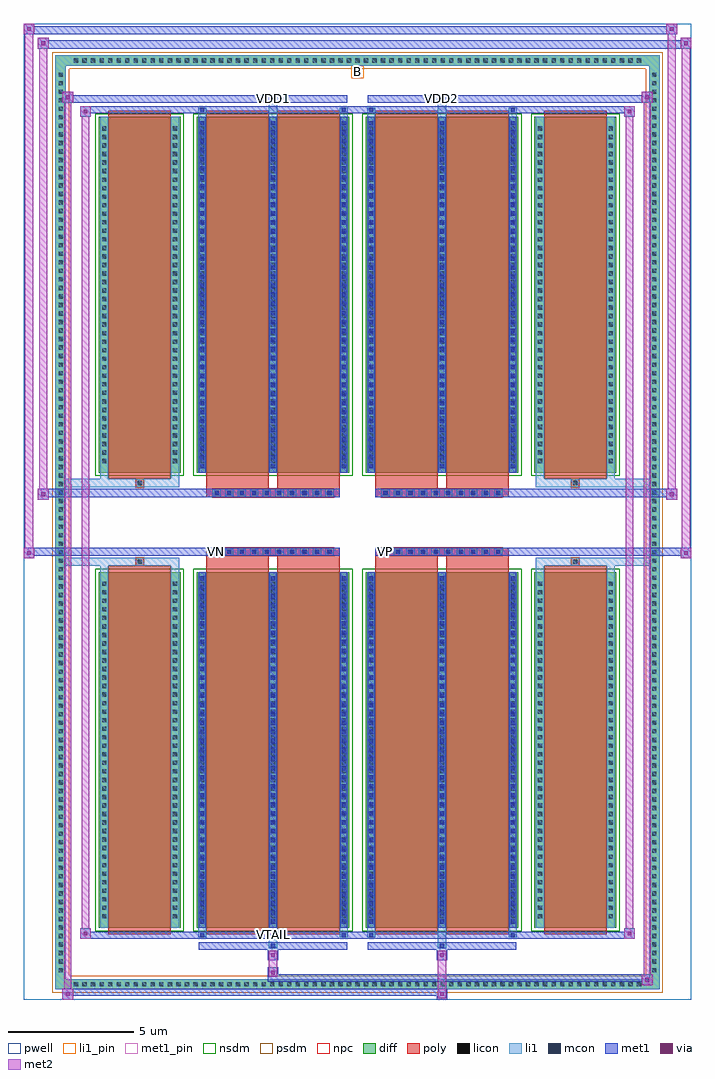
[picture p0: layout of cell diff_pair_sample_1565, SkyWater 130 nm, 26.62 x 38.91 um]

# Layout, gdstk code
import gdstk
lib = gdstk.Library(unit=1e-6, precision=5e-09)
def R(c, l, rs):  # rectangles x0, y0, x1, y1
    for r in rs: c.add(gdstk.rectangle(r[:2], r[2:], *l))
def A(c, l, x, y, w, h, nx, ny, dx, dy):  # array of equal rectangles
    R(c, l, [(x+i*dx, y+j*dy, x+i*dx+w, y+j*dy+h) for i in range(nx) for j in range(ny)])
def P(c, l, *ps):  # polygons
    for p in ps: c.add(gdstk.Polygon(p, *l))
pwell = (64, 44)
diff = (65, 20)
poly = (66, 20)
licon = (66, 44)
li1_pin = (67, 16)
li1 = (67, 20)
mcon = (67, 44)
met1_pin = (68, 16)
met1 = (68, 20)
via = (68, 44)
met2 = (69, 20)
nsdm = (93, 44)
psdm = (94, 20)
npc = (95, 20)

diff_pair_sample_1565 = lib.new_cell('diff_pair_sample_1565')
R(diff_pair_sample_1565, pwell, [(-13.31,-19.02,13.31,19.89), (-10.63,-17.21,-0.01,-0.805), (0.01,-17.21,10.63,-0.805), (-10.63,0.805,-0.01,17.21), (0.01,0.805,10.63,17.21)])
A(diff_pair_sample_1565, diff, -11.425, -18.62, 0.41, 0.41, 67, 2, 0.34, 36.83)
A(diff_pair_sample_1565, diff, -12.04, -18.055, 0.41, 0.41, 1, 106, 0, 0.34)
A(diff_pair_sample_1565, diff, 11.63, -18.055, 0.41, 0.41, 1, 106, 0, 0.34)
R(diff_pair_sample_1565, diff, [(-11.425,-18.62,11.425,-18.21), (-12.04,-18.055,-11.63,18.055), (11.63,-18.055,12.04,18.055), (-10.32,-16.165,-7.05,-1.985), (-6.41,-16.165,-0.32,-1.985), (0.32,-16.165,6.41,-1.985), (7.05,-16.165,10.32,-1.985), (-10.32,1.985,-7.05,16.165), (-6.41,1.985,-0.32,16.165), (0.32,1.985,6.41,16.165), (7.05,1.985,10.32,16.165), (-11.425,18.21,11.425,18.62)])
P(diff_pair_sample_1565, diff, [(12.04,18.62),(-12.04,18.62),(-12.04,-18.21),(-11.63,-18.21),(-11.63,18.21),(11.63,18.21),(11.63,-18.21),(-11.63,-18.21),(-12.04,-18.21),(-12.04,-18.62),(12.04,-18.62)])
A(diff_pair_sample_1565, poly, -5.78, -1.335, 0.33, 0.33, 10, 2, 0.5, 2.34)
A(diff_pair_sample_1565, poly, 0.95, -1.335, 0.33, 0.33, 10, 2, 0.5, 2.34)
R(diff_pair_sample_1565, poly, [(-9.93,-16.415,-7.44,-1.735), (-6.02,-16.415,-3.53,-1.735), (-3.2,-16.415,-0.71,-1.735), (0.71,-16.415,3.2,-1.735), (3.53,-16.415,6.02,-1.735), (7.44,-16.415,9.93,-1.735), (-8.85,-1.735,-8.52,-1.405), (-8.85,-1.735,-8.52,-1.405), (-6.02,-1.735,-3.53,-1.335), (-3.2,-1.735,-0.71,-1.335), (0.71,-1.735,3.2,-1.335), (3.53,-1.735,6.02,-1.335), (8.52,-1.735,8.85,-1.405), (8.52,-1.735,8.85,-1.405), (-6.02,-1.335,-0.71,-1.005), (0.71,-1.335,6.02,-1.005), (-6.02,1.005,-0.71,1.335), (0.71,1.005,6.02,1.335), (-6.02,1.335,-3.53,1.735), (-3.2,1.335,-0.71,1.735), (0.71,1.335,3.2,1.735), (3.53,1.335,6.02,1.735), (-8.85,1.405,-8.52,1.735), (-8.85,1.405,-8.52,1.735), (8.52,1.405,8.85,1.735), (8.52,1.405,8.85,1.735), (-9.93,1.735,-7.44,16.415), (-6.02,1.735,-3.53,16.415), (-3.2,1.735,-0.71,16.415), (0.71,1.735,3.2,16.415), (3.53,1.735,6.02,16.415), (7.44,1.735,9.93,16.415)])
A(diff_pair_sample_1565, licon, -11.305, -18.5, 0.17, 0.17, 67, 2, 0.34, 36.83)
A(diff_pair_sample_1565, licon, -11.92, -17.935, 0.17, 0.17, 1, 106, 0, 0.34)
A(diff_pair_sample_1565, licon, 11.75, -17.935, 0.17, 0.17, 1, 106, 0, 0.34)
A(diff_pair_sample_1565, licon, -10.18, -15.79, 0.17, 0.17, 1, 40, 0, 0.34)
A(diff_pair_sample_1565, licon, -7.36, -15.79, 0.17, 0.17, 1, 40, 0, 0.34)
A(diff_pair_sample_1565, licon, -6.27, -15.79, 0.17, 0.17, 3, 40, 2.82, 0.34)
A(diff_pair_sample_1565, licon, 0.46, -15.79, 0.17, 0.17, 3, 40, 2.82, 0.34)
A(diff_pair_sample_1565, licon, 7.19, -15.79, 0.17, 0.17, 1, 40, 0, 0.34)
A(diff_pair_sample_1565, licon, 10.01, -15.79, 0.17, 0.17, 1, 40, 0, 0.34)
A(diff_pair_sample_1565, licon, -5.7, -1.255, 0.17, 0.17, 10, 2, 0.5, 2.34)
A(diff_pair_sample_1565, licon, 1.03, -1.255, 0.17, 0.17, 10, 2, 0.5, 2.34)
A(diff_pair_sample_1565, licon, -10.18, 2.36, 0.17, 0.17, 1, 40, 0, 0.34)
A(diff_pair_sample_1565, licon, -7.36, 2.36, 0.17, 0.17, 1, 40, 0, 0.34)
A(diff_pair_sample_1565, licon, -6.27, 2.36, 0.17, 0.17, 3, 40, 2.82, 0.34)
A(diff_pair_sample_1565, licon, 0.46, 2.36, 0.17, 0.17, 3, 40, 2.82, 0.34)
A(diff_pair_sample_1565, licon, 7.19, 2.36, 0.17, 0.17, 1, 40, 0, 0.34)
A(diff_pair_sample_1565, licon, 10.01, 2.36, 0.17, 0.17, 1, 40, 0, 0.34)
R(diff_pair_sample_1565, licon, [(-8.77,-1.655,-8.6,-1.485), (8.6,-1.655,8.77,-1.485), (-8.77,1.485,-8.6,1.655), (8.6,1.485,8.77,1.655)])
R(diff_pair_sample_1565, li1_pin, [(-0.25,17.71,0.25,18.21)])
A(diff_pair_sample_1565, li1, -11.385, -18.58, 0.33, 0.33, 67, 2, 0.34, 36.83)
A(diff_pair_sample_1565, li1, -12, -18.015, 0.33, 0.33, 1, 106, 0, 0.34)
A(diff_pair_sample_1565, li1, 11.67, -18.015, 0.33, 0.33, 1, 106, 0, 0.34)
A(diff_pair_sample_1565, li1, -6.35, -16.165, 0.33, 14.18, 3, 2, 2.82, 18.15)
A(diff_pair_sample_1565, li1, 0.38, -16.165, 0.33, 14.18, 3, 2, 2.82, 18.15)
A(diff_pair_sample_1565, li1, -6.27, -16, 0.17, 0.17, 3, 39, 2.82, 0.36)
A(diff_pair_sample_1565, li1, -6.27, -16, 0.17, 13.85, 3, 2, 2.82, 18.15)
A(diff_pair_sample_1565, li1, 0.46, -16, 0.17, 0.17, 3, 39, 2.82, 0.36)
A(diff_pair_sample_1565, li1, 0.46, -16, 0.17, 13.85, 3, 2, 2.82, 18.15)
A(diff_pair_sample_1565, li1, -10.26, -15.87, 0.33, 0.33, 1, 40, 0, 0.34)
A(diff_pair_sample_1565, li1, -7.44, -15.87, 0.33, 0.33, 1, 40, 0, 0.34)
A(diff_pair_sample_1565, li1, -6.35, -15.87, 0.33, 0.33, 3, 40, 2.82, 0.34)
A(diff_pair_sample_1565, li1, 0.38, -15.87, 0.33, 0.33, 3, 40, 2.82, 0.34)
A(diff_pair_sample_1565, li1, 7.11, -15.87, 0.33, 0.33, 1, 40, 0, 0.34)
A(diff_pair_sample_1565, li1, 9.93, -15.87, 0.33, 0.33, 1, 40, 0, 0.34)
A(diff_pair_sample_1565, li1, -5.78, -1.335, 0.33, 0.33, 10, 2, 0.5, 2.34)
A(diff_pair_sample_1565, li1, 0.95, -1.335, 0.33, 0.33, 10, 2, 0.5, 2.34)
A(diff_pair_sample_1565, li1, -6.27, 2.15, 0.17, 0.17, 3, 39, 2.82, 0.36)
A(diff_pair_sample_1565, li1, 0.46, 2.15, 0.17, 0.17, 3, 39, 2.82, 0.36)
A(diff_pair_sample_1565, li1, -10.26, 2.28, 0.33, 0.33, 1, 40, 0, 0.34)
A(diff_pair_sample_1565, li1, -7.44, 2.28, 0.33, 0.33, 1, 40, 0, 0.34)
A(diff_pair_sample_1565, li1, -6.35, 2.28, 0.33, 0.33, 3, 40, 2.82, 0.34)
A(diff_pair_sample_1565, li1, 0.38, 2.28, 0.33, 0.33, 3, 40, 2.82, 0.34)
A(diff_pair_sample_1565, li1, 7.11, 2.28, 0.33, 0.33, 1, 40, 0, 0.34)
A(diff_pair_sample_1565, li1, 9.93, 2.28, 0.33, 0.33, 1, 40, 0, 0.34)
R(diff_pair_sample_1565, li1, [(-12.04,-18.62,-11.63,-18.21), (-12.04,-18.62,-11.63,-18.21), (-11.63,-18.62,11.63,-18.21), (11.63,-18.62,12.04,-18.21), (11.63,-18.62,12.04,-18.21), (-12.04,-18.21,-11.63,18.21), (11.63,-18.21,12.04,18.21), (-3.53,-16.97,-3.2,-16.165), (-3.45,-16.97,-3.28,-16.8), (3.2,-16.97,3.53,-16.165), (3.28,-16.97,3.45,-16.8), (-6.35,-16.54,-6.02,-16.165), (-6.27,-16.54,-6.1,-16.37), (-0.71,-16.54,-0.38,-16.165), (-0.63,-16.54,-0.46,-16.37), (0.38,-16.54,0.71,-16.165), (0.46,-16.54,0.63,-16.37), (6.02,-16.54,6.35,-16.165), (6.1,-16.54,6.27,-16.37), (-10.26,-16.165,-9.93,-1.985), (-7.44,-16.165,-7.11,-1.985), (7.11,-16.165,7.44,-1.985), (9.93,-16.165,10.26,-1.985), (-10.26,-1.985,-9.93,-1.405), (-7.44,-1.985,-7.11,-1.405), (7.11,-1.985,7.44,-1.405), (9.93,-1.985,10.26,-1.405), (-12.04,-1.735,-8.85,-1.405), (-10.26,-1.735,-8.85,-1.405), (-8.85,-1.735,-8.52,-1.405), (-8.52,-1.735,-7.11,-1.405), (7.11,-1.735,8.52,-1.405), (8.52,-1.735,8.85,-1.405), (8.52,-1.735,12.04,-1.405), (8.85,-1.735,10.26,-1.405), (-12.04,1.405,-8.85,1.735), (-10.26,1.405,-8.85,1.735), (-10.26,1.405,-9.93,1.985), (-8.85,1.405,-8.52,1.735), (-8.52,1.405,-7.11,1.735), (-7.44,1.405,-7.11,1.985), (7.11,1.405,8.52,1.735), (7.11,1.405,7.44,1.985), (8.52,1.405,8.85,1.735), (8.52,1.405,12.04,1.735), (8.85,1.405,10.26,1.735), (9.93,1.405,10.26,1.985), (-10.26,1.985,-9.93,16.165), (-7.44,1.985,-7.11,16.165), (7.11,1.985,7.44,16.165), (9.93,1.985,10.26,16.165), (-6.35,16.165,-6.02,16.54), (-3.53,16.165,-3.2,16.97), (-0.71,16.165,-0.38,16.54), (0.38,16.165,0.71,16.54), (3.2,16.165,3.53,16.97), (6.02,16.165,6.35,16.54), (-6.27,16.37,-6.1,16.54), (-0.63,16.37,-0.46,16.54), (0.46,16.37,0.63,16.54), (6.1,16.37,6.27,16.54), (-3.45,16.8,-3.28,16.97), (3.28,16.8,3.45,16.97), (-12.04,18.21,-11.63,18.62), (-12.04,18.21,-11.63,18.62), (-11.63,18.21,11.63,18.62), (11.63,18.21,12.04,18.62), (11.63,18.21,12.04,18.62)])
A(diff_pair_sample_1565, mcon, -6.27, -16, 0.17, 0.17, 3, 39, 2.82, 0.36)
A(diff_pair_sample_1565, mcon, 0.46, -16, 0.17, 0.17, 3, 39, 2.82, 0.36)
A(diff_pair_sample_1565, mcon, -5.7, -1.255, 0.17, 0.17, 10, 2, 0.5, 2.34)
A(diff_pair_sample_1565, mcon, 1.03, -1.255, 0.17, 0.17, 10, 2, 0.5, 2.34)
A(diff_pair_sample_1565, mcon, -6.27, 2.15, 0.17, 0.17, 3, 39, 2.82, 0.36)
A(diff_pair_sample_1565, mcon, 0.46, 2.15, 0.17, 0.17, 3, 39, 2.82, 0.36)
R(diff_pair_sample_1565, mcon, [(-3.45,-16.97,-3.28,-16.8), (3.28,-16.97,3.45,-16.8), (-6.27,-16.54,-6.1,-16.37), (-0.63,-16.54,-0.46,-16.37), (0.46,-16.54,0.63,-16.37), (6.1,-16.54,6.27,-16.37), (-6.27,16.37,-6.1,16.54), (-0.63,16.37,-0.46,16.54), (0.46,16.37,0.63,16.54), (6.1,16.37,6.27,16.54), (-3.45,16.8,-3.28,16.97), (3.28,16.8,3.45,16.97)])
R(diff_pair_sample_1565, met1_pin, [(-3.5,-16.58,-3.23,-16.31), (-5.75,-1.295,-5.48,-1.025), (0.98,-1.295,1.25,-1.025), (-3.5,16.76,-3.23,17.03), (3.23,16.76,3.5,17.03)])
A(diff_pair_sample_1565, met1, -6.33, -16.165, 0.29, 14.18, 3, 2, 2.82, 18.15)
A(diff_pair_sample_1565, met1, 0.4, -16.165, 0.29, 14.18, 3, 2, 2.82, 18.15)
A(diff_pair_sample_1565, met1, -6.33, -16.06, 0.29, 0.29, 3, 39, 2.82, 0.36)
A(diff_pair_sample_1565, met1, 0.4, -16.06, 0.29, 0.29, 3, 39, 2.82, 0.36)
A(diff_pair_sample_1565, met1, -5.76, -1.315, 0.29, 0.29, 10, 2, 0.5, 2.34)
A(diff_pair_sample_1565, met1, 0.97, -1.315, 0.29, 0.29, 10, 2, 0.5, 2.34)
A(diff_pair_sample_1565, met1, -6.33, 2.09, 0.29, 0.29, 3, 39, 2.82, 0.36)
A(diff_pair_sample_1565, met1, 0.4, 2.09, 0.29, 0.29, 3, 39, 2.82, 0.36)
R(diff_pair_sample_1565, met1, [(-11.77,-19.02,-11.34,-18.59), (3.15,-19.02,3.58,-18.59), (-11.77,-18.88,3.58,-18.59), (11.34,-18.45,11.77,-18.02), (-3.58,-18.31,11.77,-18.02), (-3.58,-18.17,-3.15,-17.74), (-3.58,-17.46,-3.15,-17.03), (3.15,-17.46,3.58,-17.03), (-6.33,-17.03,-0.4,-16.74), (-3.51,-17.03,-3.22,-16.74), (0.4,-17.03,6.33,-16.74), (3.22,-17.03,3.51,-16.74), (-11.06,-16.6,-10.63,-16.17), (-11.06,-16.6,-6.33,-16.31), (-6.33,-16.6,-6.04,-16.31), (-6.33,-16.6,-0.4,-16.31), (-0.69,-16.6,-0.4,-16.31), (-0.4,-16.6,0.4,-16.31), (0.4,-16.6,0.69,-16.31), (0.4,-16.6,6.33,-16.31), (6.04,-16.6,6.33,-16.31), (6.33,-16.6,11.06,-16.31), (10.63,-16.6,11.06,-16.17), (-13.31,-1.435,-12.88,-1.005), (12.88,-1.435,13.31,-1.005), (-13.31,-1.335,-0.71,-1.005), (-6.02,-1.335,-0.71,-1.005), (0.71,-1.335,6.02,-1.005), (0.71,-1.335,13.31,-1.005), (-12.74,0.905,-12.31,1.335), (12.31,0.905,12.74,1.335), (-12.74,1.005,-6.02,1.335), (-6.02,1.005,-0.71,1.335), (0.71,1.005,6.02,1.335), (6.02,1.005,12.74,1.335), (-11.06,16.17,-10.63,16.6), (10.63,16.17,11.06,16.6), (-11.06,16.31,-6.33,16.6), (-6.33,16.31,-6.04,16.6), (-6.33,16.31,-0.4,16.6), (-0.69,16.31,-0.4,16.6), (-0.4,16.31,0.4,16.6), (0.4,16.31,0.69,16.6), (0.4,16.31,6.33,16.6), (6.04,16.31,6.33,16.6), (6.33,16.31,11.06,16.6), (-11.77,16.74,-11.34,17.17), (-11.77,16.74,-6.33,17.03), (-6.33,16.74,-0.4,17.03), (-3.51,16.74,-3.22,17.03), (0.4,16.74,6.33,17.03), (3.22,16.74,3.51,17.03), (6.33,16.74,11.77,17.03), (11.34,16.74,11.77,17.17), (-12.74,18.89,-12.31,19.32), (-12.74,18.89,-10.63,19.22), (-10.63,18.89,10.63,19.22), (10.63,18.89,13.31,19.22), (12.88,18.89,13.31,19.32), (-13.31,19.46,-12.88,19.89), (-13.31,19.46,-10.63,19.79), (-10.63,19.46,10.63,19.79), (10.63,19.46,12.74,19.79), (12.31,19.46,12.74,19.89)])
R(diff_pair_sample_1565, via, [(-11.63,-18.88,-11.48,-18.73), (3.29,-18.88,3.44,-18.73), (11.48,-18.31,11.63,-18.16), (-3.44,-18.03,-3.29,-17.88), (-3.44,-17.32,-3.29,-17.17), (3.29,-17.32,3.44,-17.17), (-10.92,-16.46,-10.77,-16.31), (10.77,-16.46,10.92,-16.31), (-13.17,-1.295,-13.02,-1.145), (13.02,-1.295,13.17,-1.145), (-12.6,1.045,-12.45,1.195), (12.45,1.045,12.6,1.195), (-10.92,16.31,-10.77,16.46), (10.77,16.31,10.92,16.46), (-11.63,16.88,-11.48,17.03), (11.48,16.88,11.63,17.03), (-12.6,19.03,-12.45,19.18), (13.02,19.03,13.17,19.18), (-13.17,19.6,-13.02,19.75), (12.45,19.6,12.6,19.75)])
R(diff_pair_sample_1565, met2, [(-11.77,-19.02,-11.34,-18.59), (-11.7,-19.02,-11.41,17.17), (-11.41,-19.02,-11.34,-18.59), (-11.72,-18.97,-11.39,-18.64), (3.2,-18.97,3.53,-18.64), (3.2,-18.64,3.53,-17.41), (11.34,-18.45,11.77,-18.02), (11.41,-18.45,11.7,17.17), (11.7,-18.45,11.77,-18.02), (11.39,-18.4,11.72,-18.07), (-3.53,-18.12,-3.2,-17.79), (-3.53,-17.79,-3.2,-17.41), (-3.53,-17.41,-3.2,-17.08), (3.2,-17.41,3.53,-17.08), (-11.06,-16.6,-10.63,-16.17), (-10.99,-16.6,-10.7,16.6), (-10.7,-16.6,-10.63,-16.17), (10.63,-16.6,11.06,-16.17), (10.7,-16.6,10.99,16.6), (10.99,-16.6,11.06,-16.17), (-11.01,-16.55,-10.68,-16.22), (10.68,-16.55,11.01,-16.22), (-13.31,-1.435,-12.88,-1.005), (-13.26,-1.435,-12.93,19.89), (-12.93,-1.435,-12.88,-1.005), (12.88,-1.435,13.31,-1.005), (12.93,-1.435,13.26,19.32), (13.26,-1.435,13.31,-1.005), (-13.26,-1.385,-12.93,-1.055), (12.93,-1.385,13.26,-1.055), (-12.74,0.905,-12.31,1.335), (-12.69,0.905,-12.36,19.32), (-12.36,0.905,-12.31,1.335), (12.31,0.905,12.74,1.335), (12.36,0.905,12.69,19.89), (12.69,0.905,12.74,1.335), (-12.69,0.955,-12.36,1.285), (12.36,0.955,12.69,1.285), (-11.06,16.17,-10.63,16.6), (-10.7,16.17,-10.63,16.6), (10.63,16.17,11.06,16.6), (10.99,16.17,11.06,16.6), (-11.01,16.22,-10.68,16.55), (10.68,16.22,11.01,16.55), (-11.77,16.74,-11.34,17.17), (-11.41,16.74,-11.34,17.17), (11.34,16.74,11.77,17.17), (11.7,16.74,11.77,17.17), (-11.72,16.79,-11.39,17.12), (11.39,16.79,11.72,17.12), (-12.74,18.89,-12.31,19.32), (-12.36,18.89,-12.31,19.32), (12.88,18.89,13.31,19.32), (13.26,18.89,13.31,19.32), (-12.69,18.94,-12.36,19.27), (12.93,18.94,13.26,19.27), (-13.31,19.46,-12.88,19.89), (-12.93,19.46,-12.88,19.89), (12.31,19.46,12.74,19.89), (12.69,19.46,12.74,19.89), (-13.26,19.51,-12.93,19.84), (12.36,19.51,12.69,19.84)])
R(diff_pair_sample_1565, nsdm, [(-10.45,-16.295,-6.92,-1.855), (-6.54,-16.295,-0.19,-1.855), (0.19,-16.295,6.54,-1.855), (6.92,-16.295,10.45,-1.855), (-10.45,1.855,-6.92,16.295), (-6.54,1.855,-0.19,16.295), (0.19,1.855,6.54,16.295), (6.92,1.855,10.45,16.295)])
P(diff_pair_sample_1565, psdm, [(12.17,18.75),(-12.17,18.75),(-12.17,-18.08),(-11.5,-18.08),(-11.5,18.08),(11.5,18.08),(11.5,-18.08),(-11.5,-18.08),(-12.17,-18.08),(-12.17,-18.75),(12.17,-18.75)])
A(diff_pair_sample_1565, npc, -5.8, -1.355, 0.37, 0.37, 10, 2, 0.5, 2.34)
A(diff_pair_sample_1565, npc, 0.93, -1.355, 0.37, 0.37, 10, 2, 0.5, 2.34)
R(diff_pair_sample_1565, npc, [(-8.87,-1.755,-8.5,-1.385), (8.5,-1.755,8.87,-1.385), (-5.8,-1.355,-4.93,-0.985), (-5.8,-1.355,-4.93,-0.985), (-5.3,-1.355,-4.43,-0.985), (-5.3,-1.355,-4.43,-0.985), (-4.8,-1.355,-3.93,-0.985), (-4.8,-1.355,-3.93,-0.985), (-4.3,-1.355,-3.43,-0.985), (-4.3,-1.355,-3.43,-0.985), (-3.8,-1.355,-2.93,-0.985), (-3.8,-1.355,-2.93,-0.985), (-3.3,-1.355,-2.43,-0.985), (-3.3,-1.355,-2.43,-0.985), (-2.8,-1.355,-1.93,-0.985), (-2.8,-1.355,-1.93,-0.985), (-2.3,-1.355,-1.43,-0.985), (-2.3,-1.355,-1.43,-0.985), (-1.8,-1.355,-0.93,-0.985), (-1.8,-1.355,-0.93,-0.985), (0.93,-1.355,1.8,-0.985), (0.93,-1.355,1.8,-0.985), (1.43,-1.355,2.3,-0.985), (1.43,-1.355,2.3,-0.985), (1.93,-1.355,2.8,-0.985), (1.93,-1.355,2.8,-0.985), (2.43,-1.355,3.3,-0.985), (2.43,-1.355,3.3,-0.985), (2.93,-1.355,3.8,-0.985), (2.93,-1.355,3.8,-0.985), (3.43,-1.355,4.3,-0.985), (3.43,-1.355,4.3,-0.985), (3.93,-1.355,4.8,-0.985), (3.93,-1.355,4.8,-0.985), (4.43,-1.355,5.3,-0.985), (4.43,-1.355,5.3,-0.985), (4.93,-1.355,5.8,-0.985), (4.93,-1.355,5.8,-0.985), (-5.8,0.985,-4.93,1.355), (-5.8,0.985,-4.93,1.355), (-5.3,0.985,-4.43,1.355), (-5.3,0.985,-4.43,1.355), (-4.8,0.985,-3.93,1.355), (-4.8,0.985,-3.93,1.355), (-4.3,0.985,-3.43,1.355), (-4.3,0.985,-3.43,1.355), (-3.8,0.985,-2.93,1.355), (-3.8,0.985,-2.93,1.355), (-3.3,0.985,-2.43,1.355), (-3.3,0.985,-2.43,1.355), (-2.8,0.985,-1.93,1.355), (-2.8,0.985,-1.93,1.355), (-2.3,0.985,-1.43,1.355), (-2.3,0.985,-1.43,1.355), (-1.8,0.985,-0.93,1.355), (-1.8,0.985,-0.93,1.355), (0.93,0.985,1.8,1.355), (0.93,0.985,1.8,1.355), (1.43,0.985,2.3,1.355), (1.43,0.985,2.3,1.355), (1.93,0.985,2.8,1.355), (1.93,0.985,2.8,1.355), (2.43,0.985,3.3,1.355), (2.43,0.985,3.3,1.355), (2.93,0.985,3.8,1.355), (2.93,0.985,3.8,1.355), (3.43,0.985,4.3,1.355), (3.43,0.985,4.3,1.355), (3.93,0.985,4.8,1.355), (3.93,0.985,4.8,1.355), (4.43,0.985,5.3,1.355), (4.43,0.985,5.3,1.355), (4.93,0.985,5.8,1.355), (4.93,0.985,5.8,1.355), (-8.87,1.385,-8.5,1.755), (8.5,1.385,8.87,1.755)])
diff_pair_sample_1565.add(gdstk.Label('VTAIL', (-3.365,-16.445), layer=68, texttype=5))
diff_pair_sample_1565.add(gdstk.Label('VN', (-5.615,-1.16), layer=68, texttype=5))
diff_pair_sample_1565.add(gdstk.Label('VP', (1.115,-1.16), layer=68, texttype=5))
diff_pair_sample_1565.add(gdstk.Label('B', (0,17.96), layer=67, texttype=5))
diff_pair_sample_1565.add(gdstk.Label('VDD2', (3.365,16.895), layer=68, texttype=5))
diff_pair_sample_1565.add(gdstk.Label('VDD1', (-3.365,16.895), layer=68, texttype=5))

lib.write_gds('diff_pair_sample_1565.gds')
